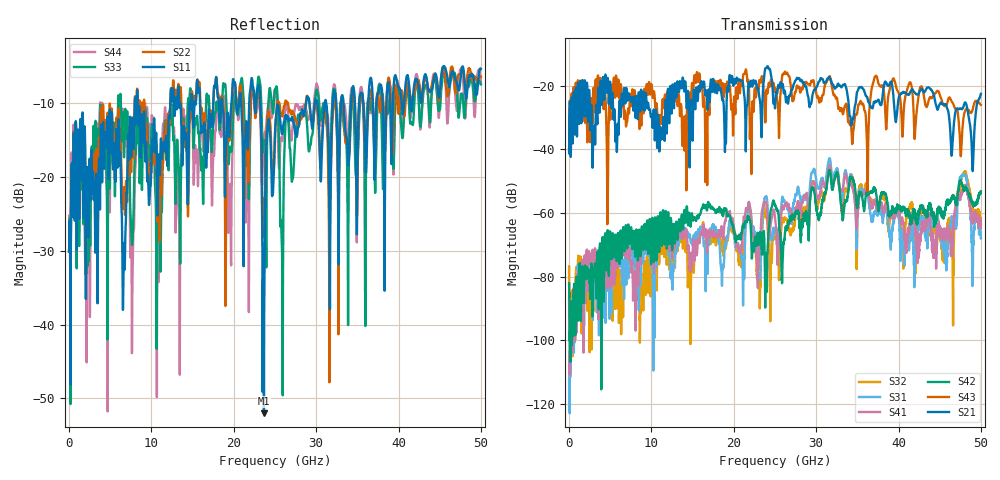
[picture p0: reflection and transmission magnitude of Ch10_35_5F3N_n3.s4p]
!Agilent Technologies,N5247A,US51170199,A.09.90.13
!Agilent N5247A: A.09.90.13
!Date: Tuesday, December 08, 2015 12:00:58
!Correction: S11(Full 4 Port(1,2,3,4))
!S12(Full 4 Port(1,2,3,4))
!S13(Full 4 Port(1,2,3,4))
!S14(Full 4 Port(1,2,3,4))
!S21(Full 4 Port(1,2,3,4))
!S22(Full 4 Port(1,2,3,4))
!S23(Full 4 Port(1,2,3,4))
!S24(Full 4 Port(1,2,3,4))
!S31(Full 4 Port(1,2,3,4))
!S32(Full 4 Port(1,2,3,4))
!S33(Full 4 Port(1,2,3,4))
!S34(Full 4 Port(1,2,3,4))
!S41(Full 4 Port(1,2,3,4))
!S42(Full 4 Port(1,2,3,4))
!S43(Full 4 Port(1,2,3,4))
!S44(Full 4 Port(1,2,3,4))
!S4P File: Measurements: <S11,S12,S13,S14>,
!<S21,S22,S23,S24>,
!<S31,S32,S33,S34>,
!<S41,S42,S43,S44>:
# Hz S  dB  R 50
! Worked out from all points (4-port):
!   3201 points, 10 MHz to 50 GHz, reference 50 ohm
!   strongest paths, dB at 10 MHz, 12.51 GHz, 25 GHz, 37.5 GHz, 50 GHz:
!     S21: -41.2, -21.8, -27.1, -24.4, -22.5
!     S43: -40.6, -22.2, -21.7, -18.6, -26.0
!     S42: -82.1, -71.7, -57.5, -58.8, -53.2
!     S41: -86.3, -74.2, -61.0, -58.6, -63.5
!     S31: -87.5, -81.1, -65.9, -60.3, -68.0
!     S32: -76.8, -82.1, -65.7, -59.3, -63.8
!   lowest |S11| = -52.0 dB at 23.66 GHz (marker M1), VSWR 1.01, Z = 50.1 - j0.205 ohm
!   |S11| at or under -10 dB: start of sweep to 7.973 GHz; 8.343 GHz to 12.29 GHz (3.948 GHz wide, 38.3 % of centre); 23.21 GHz to 28.79 GHz (5.575 GHz wide, 21.4 % of centre)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
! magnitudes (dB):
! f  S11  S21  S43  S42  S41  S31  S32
! 10 MHz  -30.1  -41.2  -40.6  -82.1  -86.3  -87.5  -76.8
! 22.19 GHz  -6.6  -19.9  -30.4  -74.4  -65.0  -64.0  -65.8
! 23.66 GHz  -52.0  -17.7  -22.2  -66.0  -56.5  -56.3  -57.9
! 31.58 GHz  -22.1  -17.2  -17.3  -46.6  -45.2  -43.0  -45.1
! 45.72 GHz  -5.4  -25.8  -26.0  -58.2  -66.2  -72.0  -73.4
! 47.95 GHz  -6.0  -25.8  -29.0  -52.9  -52.2  -48.1  -47.3
! 50 GHz  -5.3  -22.5  -26.0  -53.2  -63.5  -68.0  -63.8
